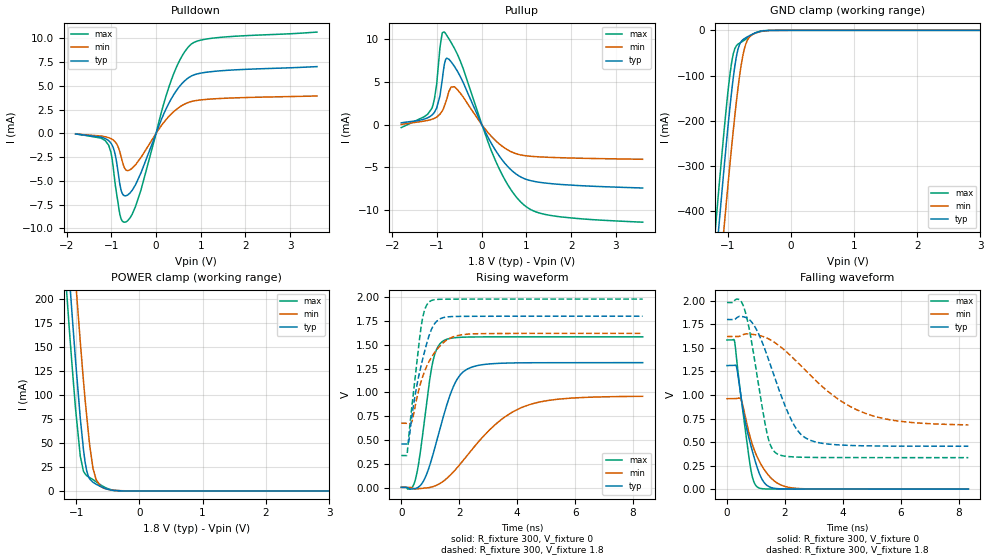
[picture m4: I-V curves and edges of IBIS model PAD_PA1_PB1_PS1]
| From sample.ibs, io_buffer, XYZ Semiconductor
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[Model]   PAD_PA1_PB1_PS1
Model_type I/O
Vinl  =  0.54
Vinh  =  1.26
Vmeas =  0.9
| Capacitance   typ   min   max
C_comp   1.4956e-12   1.4369e-12   1.5705e-12
| Variables   typ   min   max
[GND Clamp Reference]   0   0   0
[POWER Clamp Reference]   1.8   1.62   1.98
[Pulldown Reference]   0   0   0
[Pullup Reference]   1.8   1.62   1.98
[Temperature Range]   25   125   -40
[Voltage Range]   1.8   1.62   1.98
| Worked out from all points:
|   slope of the pulldown table from 0 to 0.27 V, typ, clamps not added: 89.5 ohm
|   slope of the pullup table from 0 to 0.27 V, typ, clamps not added: 100 ohm
|   GND clamp passes 1 mA (typ) near -0.41 V on its own axis
|   POWER clamp passes 1 mA (typ) near -0.45 V on its own axis
|   rising waveform, R_fixture 300, V_fixture 0: 20-80 % time 769ps typ, 1.81ns min, 421ps max; typ from 0.003 V to 1.31 V
|   rising waveform, R_fixture 300, V_fixture 1.8: 20-80 % time 538ps typ, 697ps min, 367ps max; typ from 0.457 V to 1.8 V
|   falling waveform, R_fixture 300, V_fixture 0: 20-80 % time 561ps typ, 691ps min, 397ps max; typ from 1.31 V to 0.003 V
|   falling waveform, R_fixture 300, V_fixture 1.8: 20-80 % time 987ps typ, 2.16ns min, 536ps max; typ from 1.8 V to 0.457 V
[GND Clamp]
| Voltage   I(typ)   I(min)   I(max)
-1.8V     -1.523A    -1.632A    -1.455A
-1.234V   -589.8mA   -717.8mA   -507.6mA
-1.135V   -428.7mA   -559.6mA   -344.9mA
-1.06V    -311.2mA   -442.8mA   -228.7mA
-984.8mV  -200.8mA   -329mA     -124.5mA
-934.9mV  -134.5mA   -256.7mA   -70.5mA
-860mV    -57.76mA   -157.4mA   -34.04mA
-810.1mV  -31.2mA    -101.1mA   -28.18mA
-760.2mV  -21.05mA   -57.46mA   -24.18mA
-685.3mV  -14.31mA   -21.45mA   -16.91mA
-335.8mV  -105.8uA   -277.2uA   -84.92uA
3.6V      0A         0A         0A
[POWER Clamp]
| Voltage   I(typ)   I(min)   I(max)
-1.8V     902.6mA    988.3mA    831.8mA
-1.16V    271.7mA    359.1mA    215.7mA
-1.135V   248.2mA    335.3mA    192.6mA
-1.085V   202mA      288.3mA    147.7mA
-1.01V    135.6mA    219.8mA    85.36mA
-934.9mV  75.74mA    155.1mA    36.16mA
-860mV    30.67mA    95.95mA    17.94mA
-785.1mV  12.31mA    46.92mA    13.86mA
-735.2mV  9.047mA    23.88mA    11.82mA
-685.3mV  7.019mA    11.86mA    9.539mA
-410.7mV  436.2uA    585uA      622.9uA
3.6V      0A         0A         0A
[Pullup]
| Voltage   I(typ)   I(min)   I(max)
-1.8V     215.7uA    24.33uA    -345.1uA
-1.11V    1.146mA    636.6uA    1.96mA
-1.01V    1.921mA    880uA      4.672mA
-934.9mV  3.375mA    1.22mA     9.046mA
-885mV    5.21mA     1.588mA    10.74mA
-835.1mV  7.106mA    2.199mA    10.86mA
-785.1mV  7.796mA    2.954mA    10.49mA
-610.4mV  6.826mA    4.44mA     8.943mA
313.3mV   -3.057mA   -1.893mA   -4.292mA
887.5mV   -6.177mA   -3.57mA    -9.149mA
1.562V    -6.925mA   -3.845mA   -10.67mA
3.6V      -7.432mA   -4.062mA   -11.44mA
[Pulldown]
| Voltage   I(typ)   I(min)   I(max)
-1.8V     -62.47uA   -70.83uA   -35.99uA
-1.06V    -760.3uA   -449.4uA   -1.25mA
-984.8mV  -1.213mA   -610.9uA   -2.616mA
-934.9mV  -1.832mA   -788.9uA   -4.524mA
-810.1mV  -5.34mA    -1.94mA    -8.513mA
-685.3mV  -6.567mA   -3.792mA   -9.328mA
-535.5mV  -5.992mA   -3.67mA    -8.519mA
-335.8mV  -4.134mA   -2.518mA   -5.923mA
338.3mV   3.622mA    2.037mA    5.575mA
737.7mV   5.896mA    3.282mA    9.174mA
1.337V    6.545mA    3.648mA    10.06mA
3.6V      7.027mA    3.934mA    10.66mA
[Ramp]
dV/dt_r   0.785621/0.768646n  0.573706/1.81395n  0.948052/0.42093n
dV/dt_f   0.805679/0.986642n  0.561992/2.15679n  0.986157/0.53632n
R_load = 300
[Rising Waveform]
R_fixture = 300
V_fixture = 0
V_fixture_min = 0
V_fixture_max = 0
| Time   V(typ)   V(min)   V(max)
0s        2.674mV    2.295mV    3.118mV
482.7ps   -9.936mV   -14.7mV    78.78mV
769.7ps   70.44mV    -7.901mV   633.6mV
1.073ns   324mV      7.402mV    1.298V
1.449ns   741.9mV    65.94mV    1.54V
1.947ns   1.147V     214.7mV    1.577V
2.566ns   1.277V     445.4mV    1.582V
3.537ns   1.307V     733.2mV    1.583V
4.532ns   1.311V     880.5mV    1.583V
8.333ns   1.312V     958.5mV    1.583V
[Rising Waveform]
R_fixture = 300
V_fixture = 1.8
V_fixture_min = 1.62
V_fixture_max = 1.98
| Time   V(typ)   V(min)   V(max)
0s        457.2mV    676.3mV    336.4mV
198.7ps   456mV      675.5mV    344.6mV
257.4ps   481.4mV    674.4mV    533.7mV
367.6ps   750.5mV    693.5mV    856.2mV
684.8ps   1.282V     1.115V     1.689V
817.5ps   1.445V     1.231V     1.876V
999.8ps   1.631V     1.347V     1.958V
1.346ns   1.773V     1.491V     1.978V
2.114ns   1.798V     1.606V     1.98V
8.333ns   1.8V       1.62V      1.98V
[Falling Waveform]
R_fixture = 300
V_fixture = 0
V_fixture_min = 0
V_fixture_max = 0
| Time   V(typ)   V(min)   V(max)
0s        1.312V     960.7mV    1.583V
261.7ps   1.314V     961.4mV    1.57V
342.2ps   1.281V     962.7mV    1.351V
497.5ps   948.8mV    942.3mV    949.8mV
805.8ps   485.5mV    547.6mV    242mV
919.4ps   357.7mV    438.3mV    87.56mV
1.07ns    207.7mV    326.7mV    20.5mV
1.438ns   31.02mV    148.4mV    4.316mV
2.216ns   3.845mV    16.87mV    3.415mV
8.333ns   2.674mV    2.332mV    3.118mV
[Falling Waveform]
R_fixture = 300
V_fixture = 1.8
V_fixture_min = 1.62
V_fixture_max = 1.98
| Time   V(typ)   V(min)   V(max)
0s        1.8V       1.62V      1.98V
403.1ps   1.831V     1.62V      2.013V
595.8ps   1.827V     1.644V     1.918V
955.7ps   1.727V     1.64V      1.368V
1.394ns   1.412V     1.602V     578.8mV
1.721ns   1.12V      1.541V     378.4mV
2.36ns    658.9mV    1.369V     342.9mV
2.967ns   510.6mV    1.182V     338.3mV
5.018ns   460.4mV    781.1mV    336.5mV
8.333ns   457.2mV    683.3mV    336.4mV
